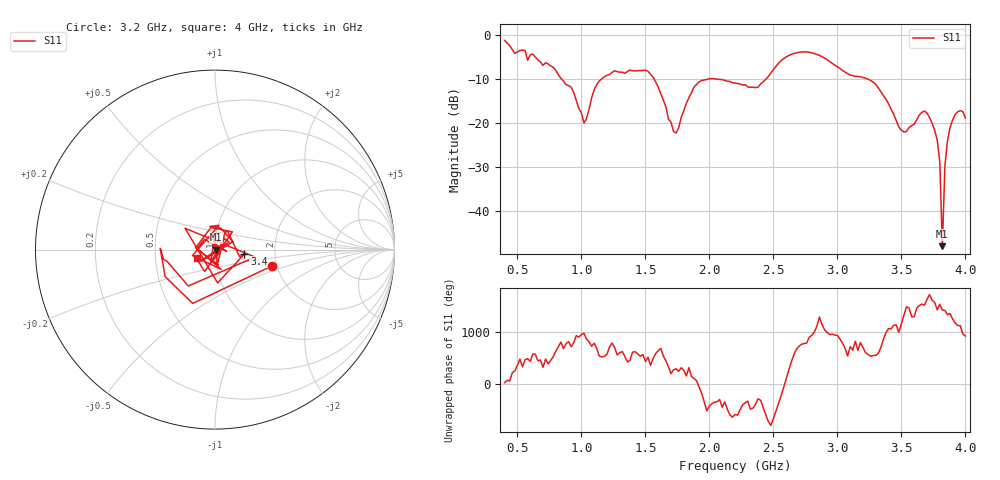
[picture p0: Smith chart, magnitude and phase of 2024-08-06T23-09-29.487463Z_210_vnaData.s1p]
!Created with skrf (http://scikit-rf.org).
# Hz S RI R 50.0
!freq ReS11 ImS11
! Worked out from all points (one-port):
!   181 points, 400 MHz to 4 GHz, reference 50 ohm
!   lowest |S11| = -48.0 dB at 3.82 GHz (marker M1), VSWR 1.01, Z = 50.4 - j0.0829 ohm
!   |S11| at or under -10 dB: 1.568 GHz to 1.988 GHz (420.2 MHz wide, 23.6 % of centre); 2.056 GHz to 2.442 GHz (386 MHz wide, 17.2 % of centre); 3.239 GHz to end of sweep (the widest 3 of 4)
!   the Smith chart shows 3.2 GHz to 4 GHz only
!   S11 on the Smith chart (normalised r, x): 3.2 GHz: 1.88, -0.38; 3.4 GHz: 1.39, -0.07; 4 GHz: 0.81, -0.08
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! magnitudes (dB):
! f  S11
! 400 MHz  -1.2
! 860 MHz  -10.5
! 940 MHz  -13.0
! 1.02 GHz  -20.0
! 1.12 GHz  -11.2
! 1.3 GHz  -8.4
! 1.52 GHz  -8.2
! 1.6 GHz  -11.8
! 1.72 GHz  -21.9
! 1.76 GHz  -21.1
! 1.92 GHz  -10.6
! 2.2 GHz  -10.9
! 2.38 GHz  -11.8
! 2.66 GHz  -4.1
! 2.86 GHz  -4.6
! 3.1 GHz  -9.1
! 3.2 GHz  -9.6
! 3.4 GHz  -15.6
! 3.5 GHz  -21.6
! 3.56 GHz  -21.0
! 3.68 GHz  -17.3
! 3.76 GHz  -21.6
! 3.8 GHz  -28.9
! 3.82 GHz  -48.0
! 3.84 GHz  -29.7
! 3.86 GHz  -24.1
! 3.92 GHz  -18.1
! 4 GHz  -18.9
